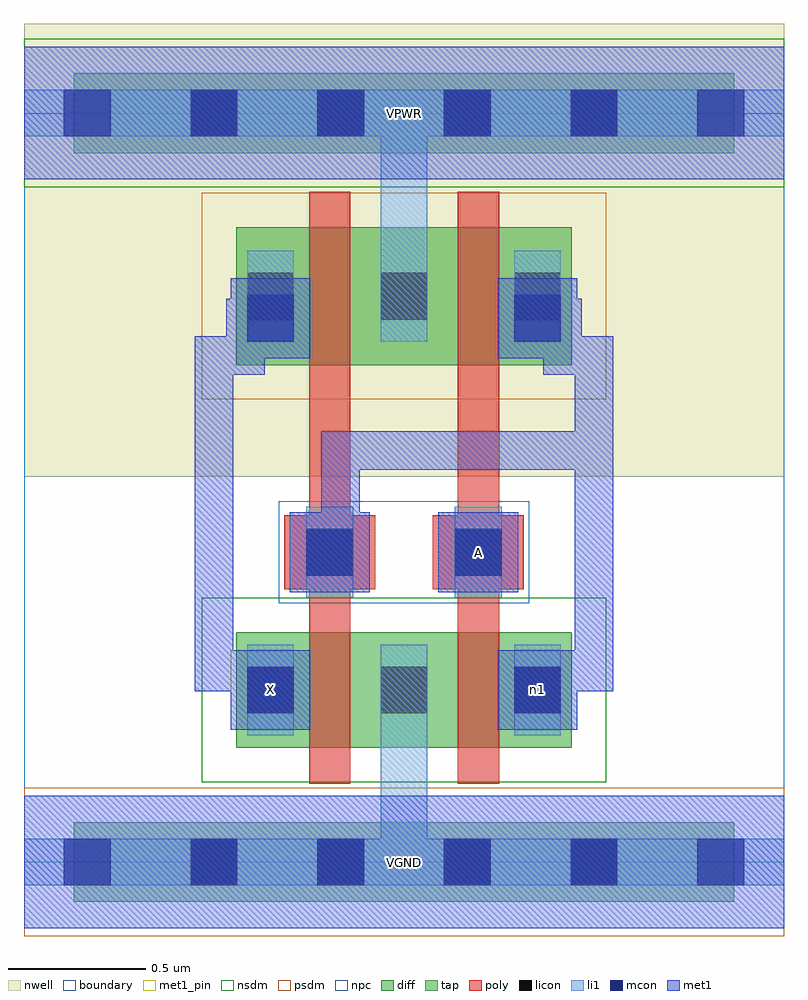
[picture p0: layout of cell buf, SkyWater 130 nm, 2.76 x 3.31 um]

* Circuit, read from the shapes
.subckt buf A VGND VPWR X n1
XM1 VGND n1 X VGND sky130_fd_pr__nfet_01v8 w=0.42 l=0.15
XM2 n1 A VGND VGND sky130_fd_pr__nfet_01v8 w=0.42 l=0.15
XM3 VPWR n1 X VPWR sky130_fd_pr__pfet_01v8 w=0.5 l=0.15
XM4 n1 A VPWR VPWR sky130_fd_pr__pfet_01v8 w=0.5 l=0.15
.ends

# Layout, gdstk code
import gdstk
lib = gdstk.Library(unit=1e-6, precision=1e-09)
def R(c, l, rs):  # rectangles x0, y0, x1, y1
    for r in rs: c.add(gdstk.rectangle(r[:2], r[2:], *l))
def A(c, l, x, y, w, h, nx, ny, dx, dy):  # array of equal rectangles
    R(c, l, [(x+i*dx, y+j*dy, x+i*dx+w, y+j*dy+h) for i in range(nx) for j in range(ny)])
nwell = (64, 20)
diff = (65, 20)
tap = (65, 44)
poly = (66, 20)
licon = (66, 44)
li1 = (67, 20)
mcon = (67, 44)
met1_pin = (68, 16)
met1 = (68, 20)
nsdm = (93, 44)
psdm = (94, 20)
npc = (95, 20)
boundary = (235, 4)

buf = lib.new_cell('buf')
R(buf, nwell, [(0,1.4,2.76,3.045)])
R(buf, diff, [(0.77,0.415,1.99,0.835), (0.77,1.805,1.99,2.305)])
R(buf, tap, [(0.18,-0.145,2.58,0.145), (0.18,2.575,2.58,2.865)])
R(buf, poly, [(1.035,0.285,1.185,2.435), (1.575,0.285,1.725,2.435), (0.945,0.99,1.275,1.26), (1.485,0.99,1.815,1.26)])
A(buf, licon, 0.605, -0.085, 0.17, 0.17, 4, 2, 0.46, 2.72)
A(buf, licon, 0.81, 0.54, 0.17, 0.17, 3, 2, 0.485, 1.43)
R(buf, licon, [(1.025,1.04,1.195,1.21), (1.565,1.04,1.735,1.21)])
A(buf, li1, 0.81, 0.46, 0.17, 0.33, 3, 2, 0.485, 1.43)
R(buf, li1, [(0,-0.085,2.76,0.085), (1.295,-0.085,1.465,0.79), (1.025,0.96,1.195,1.29), (1.565,0.96,1.735,1.29), (1.295,1.89,1.465,2.805), (0,2.635,2.76,2.805)])
A(buf, mcon, 0.145, -0.085, 0.17, 0.17, 6, 2, 0.46, 2.72)
R(buf, mcon, [(0.81,0.54,0.98,0.71), (1.78,0.54,1.95,0.71), (1.025,1.04,1.195,1.21), (1.565,1.04,1.735,1.21), (0.81,1.89,0.98,2.06), (1.78,1.89,1.95,2.06)])
R(buf, met1_pin, [(0,-0.24,2.76,0.24), (0.75,0.48,1.04,0.77), (1.505,0.98,1.795,1.27), (0,2.48,2.76,2.96)])
R(buf, met1, [(0,-0.24,2.76,0.24), (0.75,0.48,1.04,0.77), (1.72,0.48,2.01,0.77), (0.62,0.62,0.99,0.76), (0.62,0.62,0.76,1.91), (0.85,0.62,0.99,0.76), (1.77,0.62,1.91,0.76), (1.77,0.62,2.14,0.76), (2,0.62,2.14,1.91), (0.965,0.98,1.255,1.27), (1.505,0.98,1.795,1.27), (1.08,1.08,1.22,1.22), (1.08,1.08,1.22,1.565), (1.08,1.425,2.14,1.565), (0.62,1.77,0.875,1.91), (0.735,1.77,0.875,2.045), (1.885,1.77,2.025,2.045), (1.885,1.77,2.14,1.91), (0.75,1.83,1.04,2.12), (1.72,1.83,2.01,2.12), (0.735,1.905,0.965,2.045), (1.795,1.905,2.025,2.045), (0,2.48,2.76,2.96)])
R(buf, nsdm, [(0.645,0.29,2.115,0.96), (0,2.45,2.76,2.99)])
R(buf, psdm, [(0,-0.27,2.76,0.27), (0.645,1.68,2.115,2.43)])
R(buf, npc, [(0.925,0.94,1.835,1.31)])
R(buf, boundary, [(0,0,2.76,2.72)])
buf.add(gdstk.Label('n1', (1.865,0.625), layer=67, texttype=5))
buf.add(gdstk.Label('A', (1.65,1.125), layer=68, texttype=5))
buf.add(gdstk.Label('X', (0.895,0.625), layer=68, texttype=5))
buf.add(gdstk.Label('VPWR', (1.38,2.72), layer=68, texttype=5))
buf.add(gdstk.Label('VGND', (1.38,0), layer=68, texttype=5))
buf.add(gdstk.Label('A', (1.65,1.125), layer=68, texttype=16))
buf.add(gdstk.Label('X', (0.895,0.625), layer=68, texttype=16))
buf.add(gdstk.Label('VPWR', (1.38,2.72), layer=68, texttype=16))
buf.add(gdstk.Label('VGND', (1.38,0), layer=68, texttype=16))

lib.write_gds('buf.gds')
